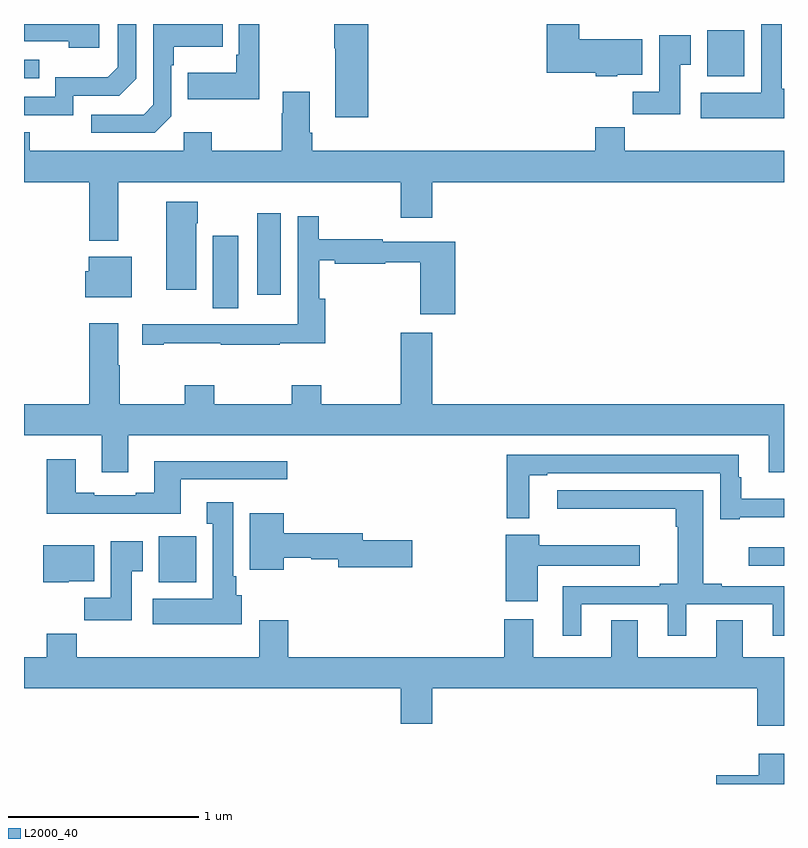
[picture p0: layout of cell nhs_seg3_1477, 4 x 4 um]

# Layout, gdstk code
import gdstk
lib = gdstk.Library(unit=1e-6, precision=1e-09)
def R(c, l, rs):  # rectangles x0, y0, x1, y1
    for r in rs: c.add(gdstk.rectangle(r[:2], r[2:], *l))
def P(c, l, *ps):  # polygons
    for p in ps: c.add(gdstk.Polygon(p, *l))
L2000_40 = (2000, 40)

nhs_seg3_1477 = lib.new_cell('nhs_seg3_1477')
R(nhs_seg3_1477, L2000_40, [(187.709,713.462,187.906,713.704), (190.815,713.55,191,713.647), (187.994,714.904,188.128,715.285), (188.228,714.975,188.35,715.405), (187,716.115,187.079,716.211), (190.595,716.126,190.792,716.368)])
P(nhs_seg3_1477, L2000_40, [(187.396,716.4),(187,716.4),(187,716.31),(187.235,716.31),(187.235,716.276),(187.396,716.276)],
  [(188.812,716.4),(188.632,716.4),(188.632,716.273),(188.639,716.273),(188.639,715.908),(188.812,715.908)],
  [(190.122,716.132),(190.255,716.132),(190.255,716.32),(189.922,716.32),(189.922,716.4),(189.752,716.4),(189.752,716.144),(190.008,716.144),(190.008,716.126),(190.122,716.126)],
  [(188.239,716.4),(188.13,716.4),(188.13,716.239),(188.118,716.239),(188.118,716.143),(187.861,716.143),(187.861,716.003),(188.239,716.003)],
  [(187.776,715.914),(187.776,716.183),(187.789,716.183),(187.789,716.279),(188.045,716.279),(188.045,716.4),(187.68,716.4),(187.68,715.974),(187.629,715.923),(187.353,715.923),(187.353,715.827),(187.689,715.827)],
  [(191,716.058),(190.987,716.058),(190.987,716.4),(190.88,716.4),(190.88,716.038),(190.563,716.038),(190.563,715.904),(191,715.904)],
  [(187.26,716.022),(187.5,716.022),(187.59,716.112),(187.59,716.4),(187.494,716.4),(187.494,716.172),(187.441,716.119),(187.164,716.119),(187.164,716.016),(187,716.016),(187,715.92),(187.26,715.92)],
  [(190.453,716.185),(190.51,716.185),(190.51,716.341),(190.343,716.341),(190.343,716.044),(190.204,716.044),(190.204,715.926),(190.453,715.926)],
  [(187.495,715.568),(188.984,715.568),(188.984,715.38),(189.148,715.38),(189.148,715.568),(191,715.568),(191,715.732),(190.163,715.732),(190.163,715.856),(190.007,715.856),(190.007,715.732),(188.516,715.732),(188.516,715.828),(188.503,715.828),(188.503,716.044),(188.363,716.044),(188.363,715.931),(188.356,715.931),(188.356,715.732),(187.989,715.732),(187.989,715.831),(187.842,715.831),(187.842,715.732),(187.029,715.732),(187.029,715.831),(187,715.831),(187,715.568),(187.343,715.568),(187.343,715.259),(187.495,715.259)],
  [(187.906,715.352),(187.914,715.352),(187.914,715.465),(187.748,715.465),(187.748,715.002),(187.906,715.002)],
  [(187.735,714.721),(188.035,714.721),(188.035,714.711),(188.345,714.711),(188.345,714.721),(188.585,714.721),(188.585,714.955),(188.554,714.955),(188.554,715.157),(188.635,715.157),(188.635,715.138),(188.902,715.138),(188.902,715.146),(189.086,715.146),(189.086,714.873),(189.269,714.873),(189.269,715.254),(188.888,715.254),(188.888,715.267),(188.551,715.267),(188.551,715.387),(188.442,715.387),(188.442,714.82),(188.232,714.82),(188.232,714.819),(187.898,714.819),(187.898,714.821),(187.623,714.821),(187.623,714.711),(187.735,714.711)],
  [(187.567,715.174),(187.34,715.174),(187.34,715.098),(187.322,715.098),(187.322,714.962),(187.567,714.962)],
  [(187.549,714.236),(190.919,714.236),(190.919,714.042),(191,714.042),(191,714.4),(189.148,714.4),(189.148,714.775),(188.984,714.775),(188.984,714.4),(188.565,714.4),(188.565,714.499),(188.41,714.499),(188.41,714.4),(188.001,714.4),(188.001,714.499),(187.846,714.499),(187.846,714.4),(187.503,714.4),(187.503,714.605),(187.495,714.605),(187.495,714.826),(187.343,714.826),(187.343,714.4),(187,714.4),(187,714.236),(187.409,714.236),(187.409,714.042),(187.549,714.042)],
  [(190.768,713.804),(191,713.804),(191,713.902),(190.774,713.902),(190.774,714.014),(190.762,714.014),(190.762,714.132),(189.541,714.132),(189.541,713.799),(189.658,713.799),(189.658,714.024),(189.754,714.024),(189.754,714.036),(190.665,714.036),(190.665,713.793),(190.768,713.793)],
  [(187.825,714.003),(188.386,714.003),(188.386,714.1),(187.685,714.1),(187.685,713.932),(187.589,713.932),(187.589,713.919),(187.369,713.919),(187.369,713.932),(187.273,713.932),(187.273,714.109),(187.121,714.109),(187.121,713.822),(187.825,713.822)],
  [(189.934,713.346),(190.388,713.346),(190.388,713.181),(190.486,713.181),(190.486,713.346),(190.94,713.346),(190.94,713.181),(191,713.181),(191,713.442),(190.672,713.442),(190.672,713.455),(190.576,713.455),(190.576,713.946),(189.807,713.946),(189.807,713.849),(190.43,713.849),(190.43,713.753),(190.442,713.753),(190.442,713.455),(190.346,713.455),(190.346,713.442),(189.836,713.442),(189.836,713.181),(189.934,713.181)],
  [(188.146,713.394),(188.116,713.394),(188.116,713.494),(188.101,713.494),(188.101,713.884),(187.961,713.884),(187.961,713.771),(187.994,713.771),(187.994,713.374),(187.677,713.374),(187.677,713.24),(188.146,713.24)],
  [(188.368,713.592),(188.511,713.592),(188.511,713.584),(188.654,713.584),(188.654,713.542),(189.043,713.542),(189.043,713.684),(188.782,713.684),(188.782,713.72),(188.368,713.72),(188.368,713.824),(188.189,713.824),(188.189,713.528),(188.368,713.528)],
  [(189.703,713.549),(190.24,713.549),(190.24,713.656),(189.713,713.656),(189.713,713.713),(189.536,713.713),(189.536,713.361),(189.703,713.361)],
  [(187.567,713.521),(187.624,713.521),(187.624,713.677),(187.457,713.677),(187.457,713.38),(187.318,713.38),(187.318,713.262),(187.567,713.262)],
  [(187.236,713.468),(187.369,713.468),(187.369,713.656),(187.1,713.656),(187.1,713.462),(187.236,713.462)],
  [(191,713.068),(190.783,713.068),(190.783,713.261),(190.643,713.261),(190.643,713.068),(190.231,713.068),(190.231,713.261),(190.091,713.261),(190.091,713.068),(189.679,713.068),(189.679,713.266),(189.527,713.266),(189.527,713.068),(188.39,713.068),(188.39,713.263),(188.237,713.263),(188.237,713.068),(187.277,713.068),(187.277,713.192),(187.121,713.192),(187.121,713.068),(187,713.068),(187,712.904),(188.984,712.904),(188.984,712.716),(189.148,712.716),(189.148,712.904),(190.859,712.904),(190.859,712.707),(191,712.707)],
  [(191,712.558),(190.868,712.558),(190.868,712.446),(190.644,712.446),(190.644,712.4),(191,712.4)])

lib.write_gds('nhs_seg3_1477.gds')
